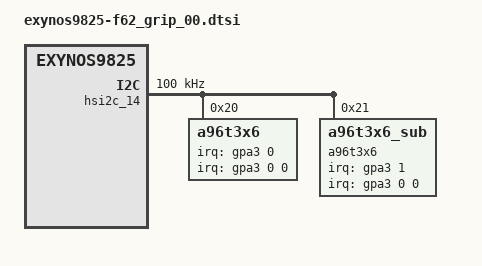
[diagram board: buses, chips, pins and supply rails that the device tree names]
&pinctrl_0 {
	grip_irq: grip-irq {
		samsung,pins = "gpa3-0";
		samsung,pin-function = <0xf>;
		samsung,pin-pud = <0>;
		samsung,pin-drv = <3>;
	};

	grip_irq_sub: grip-irq-sub {
		samsung,pins = "gpa3-1";
		samsung,pin-function = <0xf>;
		samsung,pin-pud = <0>;
		samsung,pin-drv = <3>;
	};
};

&pinctrl_5 {
	hsi2c14_bus: hsi2c14-bus {
		samsung,pin-pud-pdn = <0>;
	};
};

&hsi2c_14 {
	clock-frequency = <100000>;
	status = "okay";
	#address-cells = <1>;
	#size-cells = <0>;
	pinctrl-names = "default";
	pinctrl-0 = <&hsi2c14_bus>;
	a96t3x6@20 {
		compatible = "a96t3x6";
		reg = <0x20>;
		status = "okay";
		pinctrl-names = "default";
		pinctrl-0 = <&grip_irq>;
		interrupt-parent = <&gpa3>;
		interrupts = <0 0 0>;
		a96t3x6,irq_gpio = <&gpa3 0 0>;
		a96t3x6,dvdd_vreg_name = "grip_vdd_ldo";
		a96t3x6,fw_path = "abov/a96t356_f62_main.bin";
		a96t3x6,firmup_cmd = <0x3b>;
	};

	a96t3x6@21 {
		compatible = "a96t3x6_sub";
		reg = <0x21>;
		pinctrl-names = "default";
		pinctrl-0 = <&grip_irq_sub>;
		interrupt-parent = <&gpa3>;
		interrupts = <0 0 0>;
		a96t3x6,irq_gpio = <&gpa3 1 0>;
		a96t3x6,dvdd_vreg_name = "grip_vdd_ldo";
		a96t3x6,fw_path = "abov/a96t356_f62_sub.bin";
		a96t3x6,firmup_cmd = <0x3b>;
	};
};

